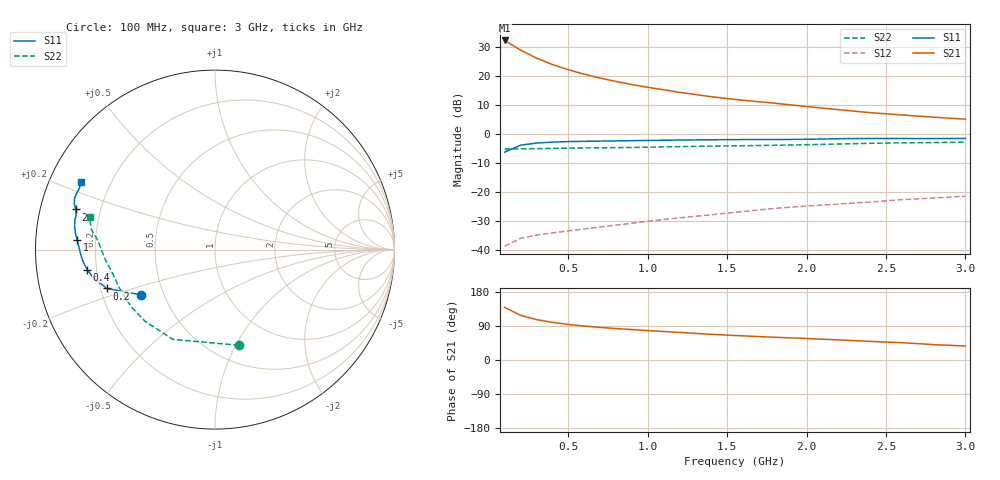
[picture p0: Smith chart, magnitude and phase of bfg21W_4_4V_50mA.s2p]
! Filename: 4_450bfg21.001
! Title: BFG21W
! Bias: Vce=4.4V; Ic=50mA
! Company: Philips Semiconductors NL
! User: Quality&Reliability T&D
! Measure time: 10 Nov 1999 / 11:46:36
#  MHz  S  MA  R 50
! Freq  S11  S21  S12  S22  :
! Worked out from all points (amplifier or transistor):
!   20 points, 100 MHz to 3 GHz, reference 50 ohm
!   highest |S21| = 32.1 dB at 100 MHz (marker M1)
!   |S21| within 3 dB of that: start of sweep to 191 MHz
!   unconditionally stable (mu >= 1): 816.2 MHz to end of sweep
!   at 400 MHz: K = 0.74, MSG = 28.9 dB, |S12| = -34.0 dB
!   at 1.2 GHz: K = 1.08, MAG = 19.9 dB, |S12| = -28.8 dB
!   at 3 GHz: K = 1.05, MAG = 11.8 dB, |S12| = -21.4 dB
!   S11 on the Smith chart (normalised r, x): 100 MHz: 0.37, -0.24; 200 MHz: 0.23, -0.17; 400 MHz: 0.16, -0.08; 1 GHz: 0.13, +0.04; 2 GHz: 0.11, +0.14; 3 GHz: 0.10, +0.24
100  0.485 -148.7  40.21 139.1  0.01178 41.6  0.5497 -75.9
200  0.6396 -160.2  27.51 118.0  0.01605 38.5  0.5524 -115.1
300  0.6946 -166.8  20.04 106.7  0.01823 39.1  0.5579 -134.3
400  0.7209 -171.1  15.56 99.3  0.01988 41.8  0.5641 -145.2
500  0.7358 -174.2  12.65 93.8  0.02151 44.5  0.5691 -152.2
600  0.7448 -176.7  10.6 89.6  0.02325 47.7  0.5731 -157.0
700  0.7508 -178.8  9.108 86.0  0.0251 50.8  0.5763 -160.7
800  0.7568 179.3  7.951 83.0  0.02703 53.7  0.5797 -163.8
900  0.7642 177.5  7.045 80.4  0.02917 56.4  0.5845 -166.4
1000  0.7709 175.9  6.32 77.8  0.03157 58.4  0.5903 -168.7
1200  0.7835 173.1  5.179 72.8  0.03612 61.7  0.6038 -172.5
1400  0.7922 170.8  4.342 67.7  0.04076 64.0  0.6168 -175.5
1600  0.7974 168.4  3.776 63.7  0.04634 66.0  0.6257 -178.1
1800  0.7978 165.9  3.363 59.9  0.05251 67.4  0.6367 179.1
2000  0.8078 163.9  2.948 56.8  0.05753 68.8  0.6511 176.2
2200  0.8252 161.8  2.605 53.0  0.0623 69.5  0.6694 173.7
2400  0.8331 159.9  2.315 49.1  0.06748 69.4  0.6884 171.8
2600  0.8321 158.0  2.109 45.7  0.07408 68.9  0.7017 170.1
2800  0.8296 155.7  1.937 40.6  0.07917 67.7  0.7093 168.0
3000  0.8349 153.1  1.786 36.9  0.08506 67.1  0.719 165.3
